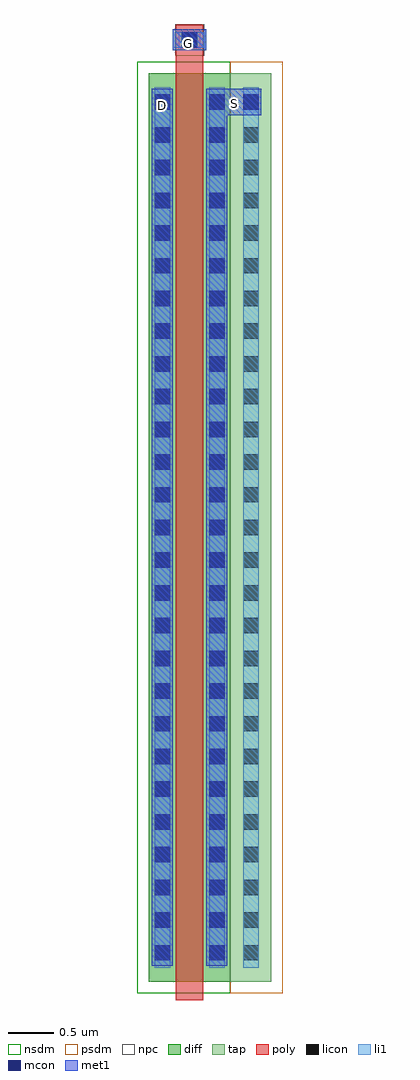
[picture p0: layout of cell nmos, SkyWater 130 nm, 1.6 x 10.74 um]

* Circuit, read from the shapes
.subckt nmos D G S
XM1 S G D S sky130_fd_pr__nfet_01v8 w=10 l=0.3
.ends

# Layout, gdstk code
import gdstk
lib = gdstk.Library(unit=1e-6, precision=5e-09)
def R(c, l, rs):  # rectangles x0, y0, x1, y1
    for r in rs: c.add(gdstk.rectangle(r[:2], r[2:], *l))
def A(c, l, x, y, w, h, nx, ny, dx, dy):  # array of equal rectangles
    R(c, l, [(x+i*dx, y+j*dy, x+i*dx+w, y+j*dy+h) for i in range(nx) for j in range(ny)])
diff = (65, 20)
tap = (65, 44)
poly = (66, 20)
licon = (66, 44)
li1 = (67, 20)
mcon = (67, 44)
met1 = (68, 20)
nsdm = (93, 44)
psdm = (94, 20)
npc = (95, 20)

nfet = lib.new_cell('nfet')
R(nfet, diff, [(0,0,0.9,10)])
R(nfet, tap, [(0.9,0,1.35,10)])
R(nfet, poly, [(0.3,-0.2,0.6,10.2), (0.3,10.2,0.6,10.53)])
A(nfet, licon, 0.065, 0.235, 0.17, 0.17, 1, 27, 0, 0.36)
A(nfet, licon, 0.665, 0.235, 0.17, 0.17, 1, 27, 0, 0.36)
A(nfet, licon, 1.04, 0.235, 0.17, 0.17, 1, 27, 0, 0.36)
R(nfet, licon, [(0.365,10.28,0.535,10.45)])
R(nfet, li1, [(0.065,0.155,0.235,9.845), (0.665,0.155,0.835,9.845), (1.04,0.155,1.21,9.845), (0.285,10.28,0.615,10.45)])
A(nfet, mcon, 0.065, 0.235, 0.17, 0.17, 1, 27, 0, 0.36)
A(nfet, mcon, 0.665, 0.235, 0.17, 0.17, 1, 27, 0, 0.36)
R(nfet, mcon, [(0.365,10.28,0.535,10.45)])
R(nfet, met1, [(0.035,0.175,0.265,9.825), (0.635,0.175,0.865,9.825), (0.265,10.25,0.635,10.48)])
R(nfet, nsdm, [(-0.125,-0.125,0.9,10.125)])
R(nfet, psdm, [(0.9,-0.125,1.475,10.125)])
R(nfet, npc, [(0.29,10.19,0.61,10.54)])

nmos = lib.new_cell('nmos')
R(nmos, mcon, [(0.51,9.52,0.68,9.69)])
R(nmos, met1, [(0.105,9.46,0.71,9.75)])
nmos.add(gdstk.Reference(nfet, (-0.53,-0.075)))
nmos.add(gdstk.Label('D', (-0.375,9.565), layer=68, texttype=5))
nmos.add(gdstk.Label('S', (0.415,9.585), layer=68, texttype=5))
nmos.add(gdstk.Label('G', (-0.095,10.255), layer=68, texttype=5))

lib.write_gds('nmos.gds')
